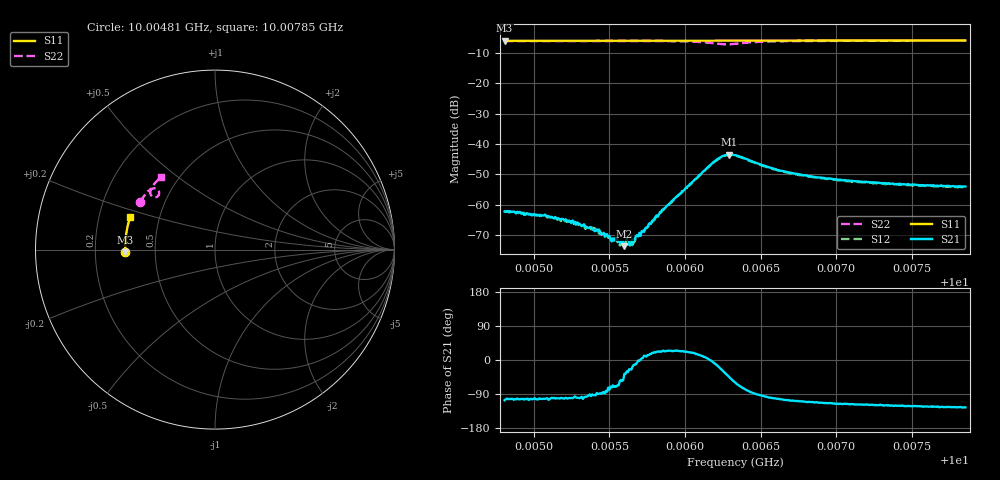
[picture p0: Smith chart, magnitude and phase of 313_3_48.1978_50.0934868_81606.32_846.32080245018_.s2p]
#  HZ  S  RI  R  50.00
! Rohde & Schwarz Vector Network Analyzer
! Rohde-Schwarz,ZNB20-2Port,1311601062101988,3.16
! Created: UTC 3/20/2024, 11:50:04 AM
! freq[Hz]  re:S11  im:S11  re:S21  im:S21  re:S12  im:S12  re:S22  im:S22
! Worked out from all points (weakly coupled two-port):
!   401 points, 10.00481 GHz to 10.00785 GHz, reference 50 ohm
!   highest |S21| = -43.47 dB at 10.00629 GHz (marker M1); lowest = -73.6 dB at 10.0056 GHz (marker M2)
!   lowest |S11| = -6.0 dB at 10.00481 GHz (marker M3), VSWR 2.99, Z = 16.7 - j0.656 ohm
!   |S11| at or under -10 dB: nowhere
!   |S22| runs from -7.2 to -6.0 dB; largest |S21 - S12| = 0.0004
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1.0004807e10  -0.499 -0.0147  -0.000215 -0.000744  -0.000128 -0.000757  -0.4159 0.2665
1.0005081e10  -0.4998 0.00319  -0.000134 -0.000639  -0.00012 -0.000643  -0.4059 0.2828
1.0005318e10  -0.4999 0.0184  -5.35e-05 -0.00044  -3.39e-05 -0.000432  -0.3966 0.2969
1.0005333e10  -0.5 0.0194  -6.92e-05 -0.00047  -5.57e-05 -0.000445  -0.3958 0.2979
1.0005401e10  -0.4998 0.0241  -1.57e-05 -0.000368  -1.23e-05 -0.000413  -0.3929 0.302
1.0005447e10  -0.4997 0.0269  6.52e-06 -0.000329  3.82e-05 -0.000326  -0.3907 0.3047
1.0005531e10  -0.4997 0.0324  8.21e-05 -0.000244  0.000101 -0.00025  -0.3868 0.3099
1.0005584e10  -0.4995 0.0359  0.000125 -0.000181  0.000146 -0.000157  -0.3842 0.313
1.0005599e10  -0.4995 0.0369  0.000167 -0.000124  0.00017 -0.000142  -0.3833 0.3141
1.000563e10  -0.4994 0.0387  0.000222 -0.000102  0.000227 -0.000111  -0.3815 0.316
1.0005653e10  -0.4993 0.0403  0.000259 -8.44e-05  0.000213 -3.8e-05  -0.3803 0.3174
1.0005668e10  -0.4993 0.0413  0.000264 -5.58e-05  0.00025 -1.75e-05  -0.3794 0.3183
1.0005828e10  -0.4986 0.0516  0.000642 0.000254  0.000657 0.000264  -0.3688 0.3287
1.0006178e10  -0.4961 0.0743  0.00477 -0.000295  0.00465 -7.98e-05  -0.3169 0.3313
1.0006247e10  -0.4954 0.0782  0.00561 -0.00284  0.00559 -0.00254  -0.3118 0.3086
1.0006292e10  -0.495 0.081  0.00473 -0.00476  0.00485 -0.00442  -0.3226 0.2946
1.000633e10  -0.4949 0.0833  0.00336 -0.00563  0.00358 -0.00535  -0.3359 0.2912
1.0006597e10  -0.4927 0.1004  -0.000756 -0.00378  -0.00058 -0.00374  -0.3595 0.3309
1.000684e10  -0.4898 0.116  -0.00104 -0.00273  -0.000914 -0.00272  -0.3489 0.3527
1.0007107e10  -0.4862 0.1328  -0.00111 -0.00221  -0.00099 -0.00216  -0.3358 0.3694
1.0007351e10  -0.4822 0.148  -0.00111 -0.00196  -0.00103 -0.00194  -0.3236 0.3823
1.0007853e10  -0.4727 0.179  -0.00114 -0.00163  -0.00103 -0.00162  -0.2982 0.4057
